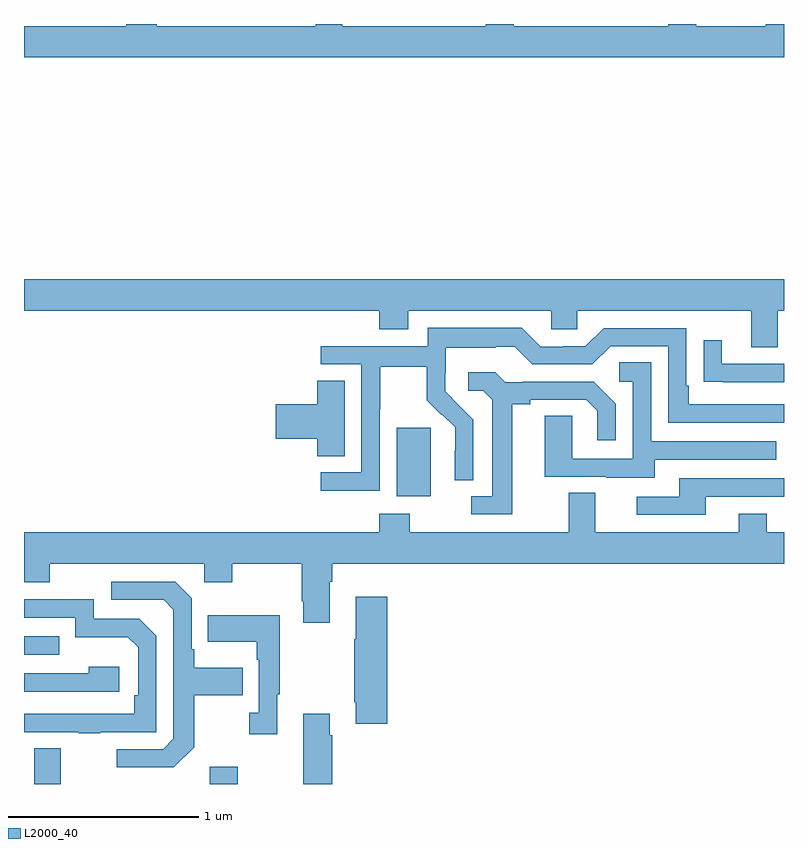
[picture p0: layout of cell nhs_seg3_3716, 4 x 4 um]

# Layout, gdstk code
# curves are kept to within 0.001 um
import gdstk
lib = gdstk.Library(unit=1e-6, precision=1e-09)
def R(c, l, rs):  # rectangles x0, y0, x1, y1
    for r in rs: c.add(gdstk.rectangle(r[:2], r[2:], *l))
def P(c, l, *ps):  # polygons
    for p in ps: c.add(gdstk.Polygon(p, *l))
L2000_40 = (2000, 40)

nhs_seg3_3716 = lib.new_cell('nhs_seg3_3716')
R(nhs_seg3_3716, L2000_40, [(303.053,722.4,303.193,722.587), (303.977,722.4,304.125,722.491), (303,723.081,303.185,723.177), (304.961,723.914,305.14,724.275)])
P(nhs_seg3_3716, L2000_40, [(307,726.4),(306.904,726.4),(306.904,726.388),(306.537,726.388),(306.537,726.4),(306.39,726.4),(306.39,726.388),(305.577,726.388),(305.577,726.4),(305.429,726.4),(305.429,726.388),(304.675,726.388),(304.675,726.4),(304.535,726.4),(304.535,726.388),(303.699,726.388),(303.699,726.4),(303.539,726.4),(303.539,726.388),(303,726.388),(303,726.224),(307,726.224)],
  [(306.967,724.892),(307,724.892),(307,725.056),(303,725.056),(303,724.892),(304.871,724.892),(304.871,724.793),(305.023,724.793),(305.023,724.892),(305.775,724.892),(305.775,724.794),(305.913,724.794),(305.913,724.892),(306.827,724.892),(306.827,724.698),(306.967,724.698)],
  [(304.872,724.372),(304.875,724.372),(304.875,724.596),(305.119,724.596),(305.119,724.421),(305.196,724.344),(305.199,724.347),(305.27,724.277),(305.27,724.154),(305.268,724.154),(305.268,724),(305.364,724),(305.364,724.318),(305.218,724.466),(305.218,724.563),(305.22,724.563),(305.22,724.697),(305.483,724.697),(305.483,724.701),(305.583,724.701),(305.676,724.608),(305.991,724.608),(306.087,724.704),(306.39,724.704),(306.39,724.302),(307,724.302),(307,724.398),(306.499,724.398),(306.499,724.495),(306.486,724.495),(306.486,724.8),(306.051,724.8),(305.955,724.704),(305.837,724.704),(305.837,724.701),(305.721,724.701),(305.621,724.801),(305.124,724.801),(305.124,724.704),(304.563,724.704),(304.563,724.608),(304.776,724.608),(304.776,724.041),(304.563,724.041),(304.563,723.943),(304.872,723.943)],
  [(307,724.611),(306.673,724.611),(306.673,724.735),(306.577,724.735),(306.577,724.516),(306.679,724.516),(306.679,724.515),(307,724.515)],
  [(306.319,724.107),(306.959,724.107),(306.959,724.203),(306.3,724.203),(306.3,724.619),(306.132,724.619),(306.132,724.518),(306.204,724.518),(306.204,724.113),(305.886,724.113),(305.886,724.337),(305.741,724.337),(305.741,724.017),(306.065,724.017),(306.065,724.013),(306.319,724.013)],
  [(305.569,724.4),(305.665,724.4),(305.665,724.422),(305.96,724.422),(306.017,724.365),(306.017,724.209),(306.114,724.209),(306.114,724.402),(305.998,724.518),(305.626,724.518),(305.626,724.515),(305.532,724.515),(305.48,724.567),(305.337,724.567),(305.337,724.47),(305.418,724.47),(305.465,724.423),(305.465,723.915),(305.355,723.915),(305.355,723.819),(305.569,723.819)],
  [(304.687,724.523),(304.544,724.523),(304.544,724.4),(304.326,724.4),(304.326,724.217),(304.544,724.217),(304.544,724.126),(304.687,724.126)],
  [(306.589,723.912),(307,723.912),(307,724.008),(306.449,724.008),(306.449,723.912),(306.225,723.912),(306.225,723.816),(306.589,723.816)],
  [(303,723.461),(303.135,723.461),(303.135,723.56),(303.948,723.56),(303.948,723.461),(304.095,723.461),(304.095,723.56),(304.462,723.56),(304.462,723.361),(304.469,723.361),(304.469,723.249),(304.609,723.249),(304.609,723.464),(304.622,723.464),(304.622,723.56),(307,723.56),(307,723.724),(306.909,723.724),(306.909,723.823),(306.761,723.823),(306.761,723.724),(306.007,723.724),(306.007,723.932),(305.867,723.932),(305.867,723.724),(305.031,723.724),(305.031,723.823),(304.871,723.823),(304.871,723.724),(303,723.724)],
  [(303.895,722.593),(303.895,722.866),(304.151,722.866),(304.151,723.013),(303.895,723.013),(303.895,723.109),(303.882,723.109),(303.882,723.378),(303.795,723.465),(303.459,723.465),(303.459,723.369),(303.735,723.369),(303.786,723.318),(303.786,722.637),(303.732,722.583),(303.489,722.583),(303.489,722.487),(303.789,722.487)],
  [(304.913,723.385),(304.745,723.385),(304.745,723.161),(304.738,723.161),(304.738,722.83),(304.745,722.83),(304.745,722.718),(304.913,722.718)],
  [(303.401,722.673),(303.696,722.673),(303.696,723.18),(303.606,723.27),(303.366,723.27),(303.366,723.372),(303,723.372),(303,723.276),(303.27,723.276),(303.27,723.173),(303.547,723.173),(303.6,723.12),(303.6,722.866),(303.58,722.866),(303.58,722.769),(303,722.769),(303,722.673),(303.289,722.673),(303.289,722.668),(303.401,722.668)],
  [(304.333,722.873),(304.345,722.873),(304.345,723.289),(303.967,723.289),(303.967,723.149),(304.224,723.149),(304.224,723.053),(304.236,723.053),(304.236,722.774),(304.185,722.774),(304.185,722.661),(304.333,722.661)],
  [(303.502,723.016),(303.341,723.016),(303.341,722.982),(303,722.982),(303,722.886),(303.502,722.886)],
  [(304.622,722.657),(304.609,722.657),(304.609,722.77),(304.469,722.77),(304.469,722.4),(304.622,722.4)])

lib.write_gds('nhs_seg3_3716.gds')
